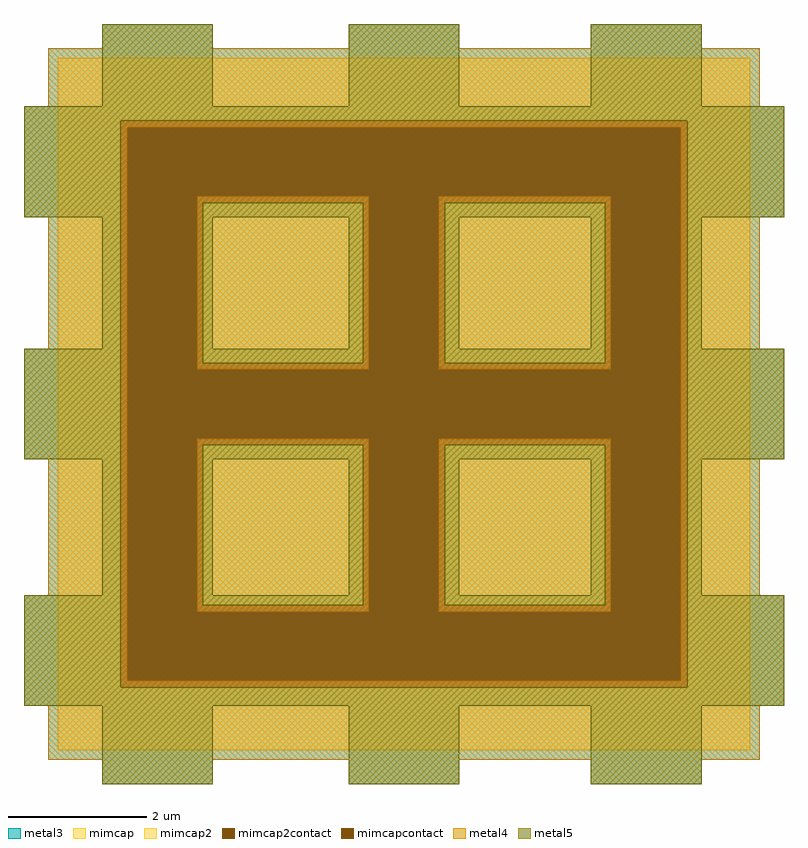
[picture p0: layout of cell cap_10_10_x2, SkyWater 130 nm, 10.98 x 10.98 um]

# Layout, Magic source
magic
tech sky130A
<< metal3 >>
rect 56 1011 216 1046
rect 412 1011 572 1046
rect 762 1011 922 1046
rect -22 927 1006 1011
rect -57 767 1041 927
rect -22 577 1006 767
rect -57 417 1041 577
rect -22 221 1006 417
rect -57 61 1041 221
rect -22 -17 1006 61
rect 56 -52 216 -17
rect 412 -52 572 -17
rect 762 -52 922 -17
<< mimcap >>
rect -8 897 992 997
rect -8 97 92 897
rect 193 547 441 797
rect 542 547 791 797
rect 193 197 441 447
rect 542 197 791 447
rect 892 97 992 897
rect -8 -3 992 97
<< mimcapcontact >>
rect 92 797 892 897
rect 92 547 193 797
rect 441 547 542 797
rect 791 547 892 797
rect 92 447 892 547
rect 92 197 193 447
rect 441 197 542 447
rect 791 197 892 447
rect 92 97 892 197
<< metal4 >>
rect 56 1011 216 1046
rect 412 1011 572 1046
rect 762 1011 922 1046
rect -22 927 1006 1011
rect -57 897 1041 927
rect -57 767 92 897
rect -22 577 92 767
rect -57 417 92 577
rect 193 547 441 797
rect 542 547 791 797
rect 892 767 1041 897
rect 892 577 1006 767
rect -22 221 92 417
rect -57 97 92 221
rect 193 197 441 447
rect 542 197 791 447
rect 892 417 1041 577
rect 892 221 1006 417
rect 892 97 1041 221
rect -57 61 1041 97
rect -22 -17 1006 61
rect 56 -52 216 -17
rect 412 -52 572 -17
rect 762 -52 922 -17
<< mimcap2 >>
rect -8 906 992 997
rect -8 88 83 906
rect 201 556 433 788
rect 551 556 783 788
rect 201 206 433 438
rect 551 206 783 438
rect 901 88 992 906
rect -8 -3 992 88
<< mimcap2contact >>
rect 83 788 901 906
rect 83 556 201 788
rect 433 556 551 788
rect 783 556 901 788
rect 83 438 901 556
rect 83 206 201 438
rect 433 206 551 438
rect 783 206 901 438
rect 83 88 901 206
<< metal5 >>
rect 56 927 216 1046
rect 412 927 572 1046
rect 762 927 922 1046
rect -57 906 1041 927
rect -57 767 83 906
rect 56 577 83 767
rect -57 417 83 577
rect 201 767 433 788
rect 201 577 216 767
rect 412 577 433 767
rect 201 556 433 577
rect 551 767 783 788
rect 551 577 572 767
rect 762 577 783 767
rect 551 556 783 577
rect 901 767 1041 906
rect 901 577 922 767
rect 56 221 83 417
rect -57 88 83 221
rect 201 417 433 438
rect 201 221 216 417
rect 412 221 433 417
rect 201 206 433 221
rect 551 417 783 438
rect 551 221 572 417
rect 762 221 783 417
rect 551 206 783 221
rect 901 417 1041 577
rect 901 221 922 417
rect 901 88 1041 221
rect -57 61 1041 88
rect 56 -52 216 61
rect 412 -52 572 61
rect 762 -52 922 61
<< end >>
